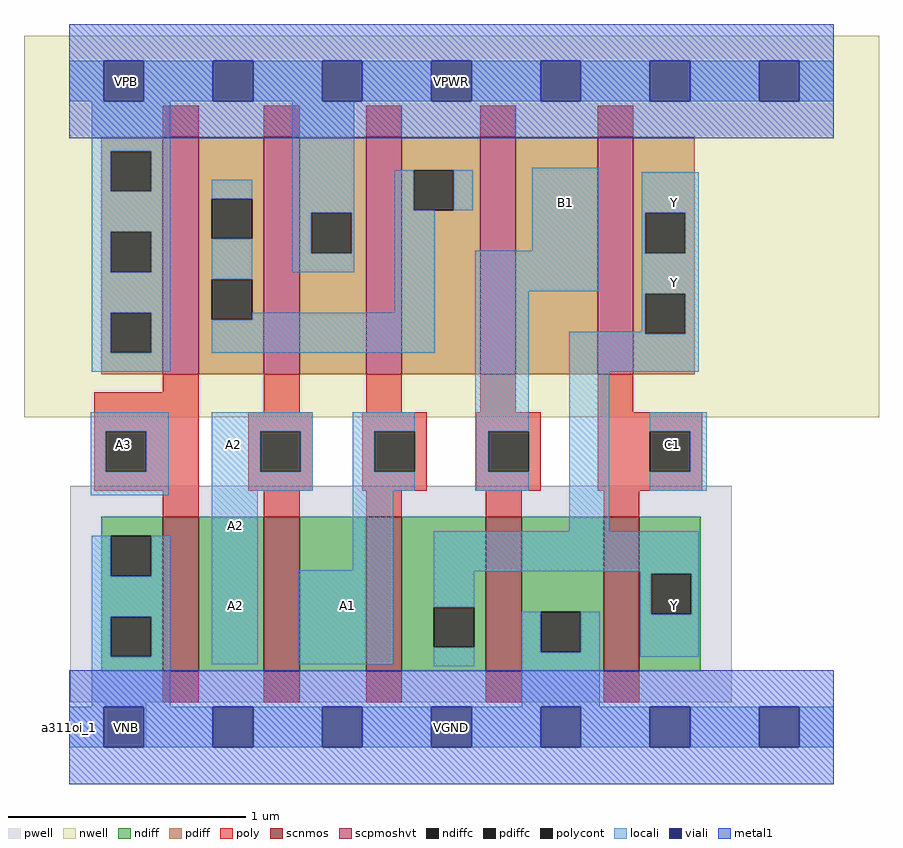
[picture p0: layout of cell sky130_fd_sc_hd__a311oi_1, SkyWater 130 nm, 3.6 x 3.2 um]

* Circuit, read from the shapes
.subckt sky130_fd_sc_hd__a311oi_1 A1 A2 A3 B1 C1 VGND VNB VPB VPWR Y
XM1 n1 A3 VGND VNB sky130_fd_pr__nfet_01v8 w=0.65 l=0.15
XM2 n2 A2 n1 VNB sky130_fd_pr__nfet_01v8 w=0.65 l=0.15
XM3 Y A1 n2 VNB sky130_fd_pr__nfet_01v8 w=0.65 l=0.15
XM4 VGND B1 Y VNB sky130_fd_pr__nfet_01v8 w=0.65 l=0.15
XM5 Y C1 VGND VNB sky130_fd_pr__nfet_01v8 w=0.65 l=0.15
XM6 n3 A3 VPWR VPB sky130_fd_pr__pfet_01v8_hvt w=1 l=0.15
XM7 VPWR A2 n3 VPB sky130_fd_pr__pfet_01v8_hvt w=1 l=0.15
XM8 n3 A1 VPWR VPB sky130_fd_pr__pfet_01v8_hvt w=1 l=0.15
XM9 n4 B1 n3 VPB sky130_fd_pr__pfet_01v8_hvt w=1 l=0.15
XM10 Y C1 n4 VPB sky130_fd_pr__pfet_01v8_hvt w=1 l=0.15
.ends

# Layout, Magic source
magic
tech sky130A
magscale 1 2
<< nwell >>
rect -38 261 682 582
<< pwell >>
rect 1 21 558 203
rect 31 -17 65 21
<< scnmos >>
rect 79 47 109 177
rect 164 47 194 177
rect 250 47 280 177
rect 351 47 381 177
rect 450 47 480 177
<< scpmoshvt >>
rect 79 297 109 497
rect 164 297 194 497
rect 250 297 280 497
rect 346 297 376 497
rect 445 297 475 497
<< ndiff >>
rect 27 161 79 177
rect 27 127 35 161
rect 69 127 79 161
rect 27 93 79 127
rect 27 59 35 93
rect 69 59 79 93
rect 27 47 79 59
rect 109 47 164 177
rect 194 47 250 177
rect 280 101 351 177
rect 280 67 307 101
rect 341 67 351 101
rect 280 47 351 67
rect 381 97 450 177
rect 381 63 397 97
rect 431 63 450 97
rect 381 47 450 63
rect 480 129 532 177
rect 480 95 490 129
rect 524 95 532 129
rect 480 47 532 95
<< pdiff >>
rect 27 485 79 497
rect 27 451 35 485
rect 69 451 79 485
rect 27 417 79 451
rect 27 383 35 417
rect 69 383 79 417
rect 27 349 79 383
rect 27 315 35 349
rect 69 315 79 349
rect 27 297 79 315
rect 109 445 164 497
rect 109 411 120 445
rect 154 411 164 445
rect 109 377 164 411
rect 109 343 120 377
rect 154 343 164 377
rect 109 297 164 343
rect 194 433 250 497
rect 194 399 204 433
rect 238 399 250 433
rect 194 297 250 399
rect 280 469 346 497
rect 280 435 290 469
rect 324 435 346 469
rect 280 297 346 435
rect 376 297 445 497
rect 475 433 527 497
rect 475 399 485 433
rect 519 399 527 433
rect 475 365 527 399
rect 475 331 485 365
rect 519 331 527 365
rect 475 297 527 331
<< ndiffc >>
rect 35 127 69 161
rect 35 59 69 93
rect 307 67 341 101
rect 397 63 431 97
rect 490 95 524 129
<< pdiffc >>
rect 35 451 69 485
rect 35 383 69 417
rect 35 315 69 349
rect 120 411 154 445
rect 120 343 154 377
rect 204 399 238 433
rect 290 435 324 469
rect 485 399 519 433
rect 485 331 519 365
<< poly >>
rect 79 497 109 523
rect 164 497 194 523
rect 250 497 280 523
rect 346 497 376 523
rect 445 497 475 523
rect 79 282 109 297
rect 21 249 109 282
rect 164 265 194 297
rect 250 265 280 297
rect 346 265 376 297
rect 445 265 475 297
rect 21 215 31 249
rect 65 215 109 249
rect 21 199 109 215
rect 151 249 205 265
rect 151 215 161 249
rect 195 215 205 249
rect 151 199 205 215
rect 247 249 301 265
rect 247 215 257 249
rect 291 215 301 249
rect 247 199 301 215
rect 343 249 397 265
rect 343 215 353 249
rect 387 215 397 249
rect 343 199 397 215
rect 445 249 533 265
rect 445 215 489 249
rect 523 215 533 249
rect 445 199 533 215
rect 79 177 109 199
rect 164 177 194 199
rect 250 177 280 199
rect 351 177 381 199
rect 450 177 480 199
rect 79 21 109 47
rect 164 21 194 47
rect 250 21 280 47
rect 351 21 381 47
rect 450 21 480 47
<< polycont >>
rect 31 215 65 249
rect 161 215 195 249
rect 257 215 291 249
rect 353 215 387 249
rect 489 215 523 249
<< locali >>
rect 0 527 29 561
rect 63 527 121 561
rect 155 527 213 561
rect 247 527 305 561
rect 339 527 397 561
rect 431 527 489 561
rect 523 527 581 561
rect 615 527 644 561
rect 19 485 85 527
rect 19 451 35 485
rect 69 451 85 485
rect 19 417 85 451
rect 19 383 35 417
rect 69 383 85 417
rect 19 349 85 383
rect 19 315 35 349
rect 69 315 85 349
rect 120 445 154 461
rect 120 377 154 411
rect 188 433 240 527
rect 188 399 204 433
rect 238 399 240 433
rect 188 383 240 399
rect 274 435 290 469
rect 324 435 340 469
rect 274 349 308 435
rect 390 401 446 471
rect 154 343 308 349
rect 120 315 308 343
rect 342 367 446 401
rect 482 433 530 467
rect 482 399 485 433
rect 519 399 530 433
rect 19 299 85 315
rect 18 249 84 265
rect 18 215 31 249
rect 65 215 84 249
rect 18 195 84 215
rect 120 249 205 265
rect 120 215 161 249
rect 195 215 205 249
rect 120 199 205 215
rect 239 249 291 265
rect 239 215 257 249
rect 239 199 291 215
rect 342 249 387 367
rect 482 365 530 399
rect 482 333 485 365
rect 342 215 353 249
rect 342 199 387 215
rect 421 331 485 333
rect 519 331 530 365
rect 421 299 530 331
rect 19 127 35 161
rect 69 127 85 161
rect 19 93 85 127
rect 19 59 35 93
rect 69 59 85 93
rect 19 17 85 59
rect 120 53 159 199
rect 239 132 273 199
rect 421 165 455 299
rect 489 249 537 265
rect 523 215 537 249
rect 489 199 537 215
rect 193 53 273 132
rect 307 131 530 165
rect 307 101 341 131
rect 481 129 530 131
rect 307 51 341 67
rect 381 63 397 97
rect 431 63 447 97
rect 381 17 447 63
rect 481 95 490 129
rect 524 95 530 129
rect 481 59 530 95
rect 0 -17 29 17
rect 63 -17 121 17
rect 155 -17 213 17
rect 247 -17 305 17
rect 339 -17 397 17
rect 431 -17 489 17
rect 523 -17 581 17
rect 615 -17 644 17
<< viali >>
rect 29 527 63 561
rect 121 527 155 561
rect 213 527 247 561
rect 305 527 339 561
rect 397 527 431 561
rect 489 527 523 561
rect 581 527 615 561
rect 29 -17 63 17
rect 121 -17 155 17
rect 213 -17 247 17
rect 305 -17 339 17
rect 397 -17 431 17
rect 489 -17 523 17
rect 581 -17 615 17
<< metal1 >>
rect 0 561 644 592
rect 0 527 29 561
rect 63 527 121 561
rect 155 527 213 561
rect 247 527 305 561
rect 339 527 397 561
rect 431 527 489 561
rect 523 527 581 561
rect 615 527 644 561
rect 0 496 644 527
rect 0 17 644 48
rect 0 -17 29 17
rect 63 -17 121 17
rect 155 -17 213 17
rect 247 -17 305 17
rect 339 -17 397 17
rect 431 -17 489 17
rect 523 -17 581 17
rect 615 -17 644 17
rect 0 -48 644 -17
<< labels >>
flabel locali s 29 221 63 255 0 FreeSans 200 0 0 0 A3
port 3 nsew signal input
flabel locali s 493 85 527 119 0 FreeSans 200 0 0 0 Y
port 10 nsew signal output
flabel locali s 491 221 525 255 0 FreeSans 200 0 0 0 C1
port 5 nsew signal input
flabel locali s 493 425 527 459 0 FreeSans 200 0 0 0 Y
port 10 nsew signal output
flabel locali s 401 425 435 459 0 FreeSans 200 0 0 0 B1
port 4 nsew signal input
flabel locali s 123 153 157 187 0 FreeSans 200 0 0 0 A2
port 2 nsew signal input
flabel locali s 217 85 251 119 0 FreeSans 200 0 0 0 A1
port 1 nsew signal input
flabel locali s 123 85 157 119 0 FreeSans 200 0 0 0 A2
port 2 nsew signal input
flabel locali s 121 221 155 255 0 FreeSans 200 0 0 0 A2
port 2 nsew signal input
flabel locali s 493 357 527 391 0 FreeSans 200 0 0 0 Y
port 10 nsew signal output
flabel nwell s 31 527 65 561 0 FreeSans 200 0 0 0 VPB
port 8 nsew power bidirectional
flabel pwell s 31 -17 65 17 0 FreeSans 200 0 0 0 VNB
port 7 nsew ground bidirectional
flabel metal1 s 31 527 65 561 0 FreeSans 200 0 0 0 VPWR
port 9 nsew power bidirectional abutment
flabel metal1 s 31 -17 65 17 0 FreeSans 200 0 0 0 VGND
port 6 nsew ground bidirectional abutment
rlabel comment s 0 0 0 0 4 a311oi_1
rlabel metal1 s 0 -48 644 48 1 VGND
port 6 nsew ground bidirectional abutment
rlabel metal1 s 0 496 644 592 1 VPWR
port 9 nsew power bidirectional abutment
<< properties >>
string FIXED_BBOX 0 0 644 544
string GDS_END 3707338
string GDS_FILE $PDKPATH/libs.ref/sky130_fd_sc_hd/gds/sky130_fd_sc_hd.gds
string GDS_START 3701184
string LEFclass CORE
string LEFsite unithd
string LEFsymmetry X Y R90
string path 0.000 0.000 16.100 0.000 
<< end >>
